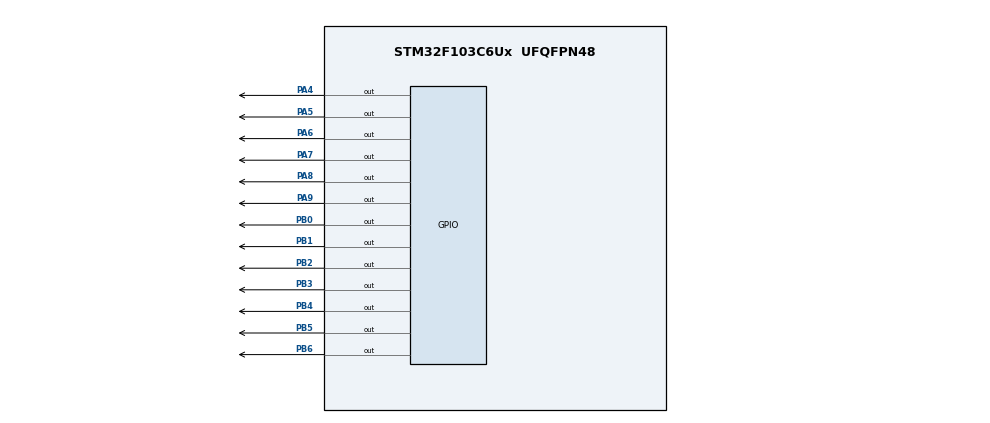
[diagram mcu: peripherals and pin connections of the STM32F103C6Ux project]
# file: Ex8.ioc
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Mcu.Family=STM32F1
Mcu.Name=STM32F103C6Ux
Mcu.Package=UFQFPN48
NVIC.PriorityGroup=NVIC_PRIORITYGROUP_4
NVIC.TIM2_IRQn=true\:0\:0\:false\:false\:true\:true\:true\:true
PA13.Mode=Serial_Wire
PA13.Signal=SYS_JTMS-SWDIO
PA14.Mode=Serial_Wire
PA14.Signal=SYS_JTCK-SWCLK
PA4.Signal=GPIO_Output
PA5.Signal=GPIO_Output
PA6.PinState=GPIO_PIN_SET
PA6.Signal=GPIO_Output
PA7.PinState=GPIO_PIN_SET
PA7.Signal=GPIO_Output
PA8.PinState=GPIO_PIN_SET
PA8.Signal=GPIO_Output
PA9.PinState=GPIO_PIN_SET
PA9.Signal=GPIO_Output
PB0.Signal=GPIO_Output
PB1.Signal=GPIO_Output
PB2.Signal=GPIO_Output
PB3.Signal=GPIO_Output
PB4.Signal=GPIO_Output
PB5.Signal=GPIO_Output
PB6.Signal=GPIO_Output
ProjectManager.HeapSize=0x200
ProjectManager.StackSize=0x400
ProjectManager.TargetToolchain=STM32CubeIDE
RCC.APB1Freq_Value=8000000
RCC.APB2Freq_Value=8000000
TIM2.Period=9
TIM2.Prescaler=7999
VP_TIM2_VS_ClockSourceINT.Mode=Internal
board=custom

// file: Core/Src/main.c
/* USER CODE BEGIN Header */
/**
 ******************************************************************************
 * @file           : main.c
 * @brief          : Main program body
 ******************************************************************************
 */
/* USER CODE END Header */
#include "main.h"

TIM_HandleTypeDef htim2;

void SystemClock_Config(void);
static void MX_GPIO_Init(void);
static void MX_TIM2_Init(void);
/* USER CODE BEGIN PFP */
void setTimer0(int duration);
void timer_run(void);
void updateClockBuffer(void);
void display7SEG(int num);
void update7SEG(int index);
/* USER CODE END PFP */

/* Private user code --------------------------------------------------------- */
/* USER CODE BEGIN 0 */

/* ---------- Software timer ---------- */
#define TIMER_CYCLE 10 // chu kỳ ngắt TIM2 = 10ms
#define SCAN_PERIOD 10 // ms mỗi LED 7 đoạn (quét multiplex khoảng 25Hz)

volatile int timer0_counter = 0;
volatile int timer0_flag = 0;
volatile int timer1_counter = 0;
volatile int timer1_flag = 0;

void setTimer0(int duration)
{
  timer0_counter = duration / TIMER_CYCLE;
  timer0_flag = 0;
}

void setTimer1(int duration)
{
  timer1_counter = duration / TIMER_CYCLE;
  timer1_flag = 0;
}

void timer_run(void)
{
  if (timer0_counter > 0)
  {
    timer0_counter--;
    if (timer0_counter == 0)
      timer0_flag = 1;
  }
  if (timer1_counter > 0)
  {
    timer1_counter--;
    if (timer1_counter == 0)
      timer1_flag = 1;
  }
}

/* ---------- LED 7 đoạn ---------- */
// Common anode: bit = 0 -> sáng. Bit0 = a ... bit6 = g
const uint8_t SEG_CODE[10] = {
    0x40, 0x79, 0x24, 0x30, 0x19, // 0 1 2 3 4
    0x12, 0x02, 0x78, 0x00, 0x10  // 5 6 7 8 9
};

void display7SEG(int num)
{
  GPIOB->ODR = (GPIOB->ODR & ~0x007F) | SEG_CODE[num];
}

const int MAX_LED = 4;
int index_led = 0;
int led_buffer[4] = {1, 2, 3, 4};

#define EN_ON GPIO_PIN_RESET // common-anode: mức 0 = bật
#define EN_OFF GPIO_PIN_SET  // common-anode: mức 1 = tắt

void update7SEG(int index)
{
  // Tắt cả 4 LED trước khi đổi dữ liệu để tránh bóng mờ
  HAL_GPIO_WritePin(GPIOA, GPIO_PIN_6 | GPIO_PIN_7 | GPIO_PIN_8 | GPIO_PIN_9, EN_OFF);
  switch (index)
  {
  case 0:
    display7SEG(led_buffer[0]);
    HAL_GPIO_WritePin(GPIOA, GPIO_PIN_6, EN_ON);
    break;
  case 1:
    display7SEG(led_buffer[1]);
    HAL_GPIO_WritePin(GPIOA, GPIO_PIN_7, EN_ON);
    break;
  case 2:
    display7SEG(led_buffer[2]);
    HAL_GPIO_WritePin(GPIOA, GPIO_PIN_8, EN_ON);
    break;
  case 3:
    display7SEG(led_buffer[3]);
    HAL_GPIO_WritePin(GPIOA, GPIO_PIN_9, EN_ON);
    break;
  default:
    break;
  }
}

/* ---------- Đồng hồ ---------- */
int hour = 15, minute = 8, second = 50;

void updateClockBuffer(void)
{
  led_buffer[0] = hour / 10;
  led_buffer[1] = hour % 10;
  led_buffer[2] = minute / 10;
  led_buffer[3] = minute % 10;
}

/* USER CODE END 0 */

int main(void)
{

  /* MCU Configuration--------------------------------------------------------*/

  /* Reset of all peripherals, Initializes the Flash interface and the Systick. */
  HAL_Init();

  /* Configure the system clock */
  SystemClock_Config();

  /* Initialize all configured peripherals */
  MX_GPIO_Init();
  MX_TIM2_Init();
  /* USER CODE BEGIN 2 */
  HAL_GPIO_WritePin(GPIOA, GPIO_PIN_6 | GPIO_PIN_7 | GPIO_PIN_8 | GPIO_PIN_9, EN_OFF);
  HAL_TIM_Base_Start_IT(&htim2);
  updateClockBuffer();
  setTimer0(1000);
  setTimer1(SCAN_PERIOD);
  /* USER CODE END 2 */

  /* Infinite loop */
  /* USER CODE BEGIN WHILE */
  while (1)
  {
    // Quét LED 7 đoạn
    if (timer1_flag == 1)
    {
      setTimer1(SCAN_PERIOD);
      update7SEG(index_led++);
      if (index_led >= MAX_LED)
        index_led = 0;
    }

    // Đồng hồ + DOT mỗi giây
    if (timer0_flag == 1)
    {
      setTimer0(1000);
      HAL_GPIO_TogglePin(GPIOA, GPIO_PIN_4);

      second++;
      if (second >= 60)
      {
        second = 0;
        minute++;
      }
      if (minute >= 60)
      {
        minute = 0;
        hour++;
      }
      if (hour >= 24)
      {
        hour = 0;
      }
      updateClockBuffer();
    }
    /* USER CODE END WHILE */

  }
}

void SystemClock_Config(void)
{
  RCC_OscInitTypeDef RCC_OscInitStruct = {0};
  RCC_ClkInitTypeDef RCC_ClkInitStruct = {0};

  /** Initializes the RCC Oscillators according to the specified parameters
   * in the RCC_OscInitTypeDef structure.
   */
  RCC_OscInitStruct.OscillatorType = RCC_OSCILLATORTYPE_HSI;
  RCC_OscInitStruct.HSIState = RCC_HSI_ON;
  RCC_OscInitStruct.HSICalibrationValue = RCC_HSICALIBRATION_DEFAULT;
  RCC_OscInitStruct.PLL.PLLState = RCC_PLL_NONE;
  if (HAL_RCC_OscConfig(&RCC_OscInitStruct) != HAL_OK)
  {
    Error_Handler();
  }

  /** Initializes the CPU, AHB and APB buses clocks
   */
  RCC_ClkInitStruct.ClockType = RCC_CLOCKTYPE_HCLK | RCC_CLOCKTYPE_SYSCLK | RCC_CLOCKTYPE_PCLK1 | RCC_CLOCKTYPE_PCLK2;
  RCC_ClkInitStruct.SYSCLKSource = RCC_SYSCLKSOURCE_HSI;
  RCC_ClkInitStruct.AHBCLKDivider = RCC_SYSCLK_DIV1;
  RCC_ClkInitStruct.APB1CLKDivider = RCC_HCLK_DIV1;
  RCC_ClkInitStruct.APB2CLKDivider = RCC_HCLK_DIV1;

  if (HAL_RCC_ClockConfig(&RCC_ClkInitStruct, FLASH_LATENCY_0) != HAL_OK)
  {
    Error_Handler();
  }
}

static void MX_TIM2_Init(void)
{

  TIM_ClockConfigTypeDef sClockSourceConfig = {0};
  TIM_MasterConfigTypeDef sMasterConfig = {0};

  htim2.Instance = TIM2;
  htim2.Init.Prescaler = 7999;
  htim2.Init.CounterMode = TIM_COUNTERMODE_UP;
  htim2.Init.Period = 9;
  htim2.Init.ClockDivision = TIM_CLOCKDIVISION_DIV1;
  htim2.Init.AutoReloadPreload = TIM_AUTORELOAD_PRELOAD_DISABLE;
  if (HAL_TIM_Base_Init(&htim2) != HAL_OK)
  {
    Error_Handler();
  }
  sClockSourceConfig.ClockSource = TIM_CLOCKSOURCE_INTERNAL;
  if (HAL_TIM_ConfigClockSource(&htim2, &sClockSourceConfig) != HAL_OK)
  {
    Error_Handler();
  }
  sMasterConfig.MasterOutputTrigger = TIM_TRGO_RESET;
  sMasterConfig.MasterSlaveMode = TIM_MASTERSLAVEMODE_DISABLE;
  if (HAL_TIMEx_MasterConfigSynchronization(&htim2, &sMasterConfig) != HAL_OK)
  {
    Error_Handler();
  }
}

static void MX_GPIO_Init(void)
{
  GPIO_InitTypeDef GPIO_InitStruct = {0};

  /* GPIO Ports Clock Enable */
  __HAL_RCC_GPIOA_CLK_ENABLE();
  __HAL_RCC_GPIOB_CLK_ENABLE();

  /*Configure GPIO pin Output Level */
  HAL_GPIO_WritePin(GPIOA, GPIO_PIN_4 | GPIO_PIN_5, GPIO_PIN_RESET);

  /*Configure GPIO pin Output Level */
  HAL_GPIO_WritePin(GPIOA, GPIO_PIN_6 | GPIO_PIN_7 | GPIO_PIN_8 | GPIO_PIN_9, GPIO_PIN_SET);

  /*Configure GPIO pin Output Level */
  HAL_GPIO_WritePin(GPIOB, GPIO_PIN_0 | GPIO_PIN_1 | GPIO_PIN_2 | GPIO_PIN_3 | GPIO_PIN_4 | GPIO_PIN_5 | GPIO_PIN_6, GPIO_PIN_RESET);

  /*Configure GPIO pins : PA4 PA5 PA6 PA7
                           PA8 PA9 */
  GPIO_InitStruct.Pin = GPIO_PIN_4 | GPIO_PIN_5 | GPIO_PIN_6 | GPIO_PIN_7 | GPIO_PIN_8 | GPIO_PIN_9;
  GPIO_InitStruct.Mode = GPIO_MODE_OUTPUT_PP;
  GPIO_InitStruct.Pull = GPIO_NOPULL;
  GPIO_InitStruct.Speed = GPIO_SPEED_FREQ_LOW;
  HAL_GPIO_Init(GPIOA, &GPIO_InitStruct);

  /*Configure GPIO pins : PB0 PB1 PB2 PB3
                           PB4 PB5 PB6 */
  GPIO_InitStruct.Pin = GPIO_PIN_0 | GPIO_PIN_1 | GPIO_PIN_2 | GPIO_PIN_3 | GPIO_PIN_4 | GPIO_PIN_5 | GPIO_PIN_6;
  GPIO_InitStruct.Mode = GPIO_MODE_OUTPUT_PP;
  GPIO_InitStruct.Pull = GPIO_NOPULL;
  GPIO_InitStruct.Speed = GPIO_SPEED_FREQ_LOW;
  HAL_GPIO_Init(GPIOB, &GPIO_InitStruct);

}

/* USER CODE BEGIN 4 */
void HAL_TIM_PeriodElapsedCallback(TIM_HandleTypeDef *htim)
{
  if (htim->Instance == TIM2)
  {
    timer_run();
  }
}
/* USER CODE END 4 */

void Error_Handler(void)
{
  __disable_irq();
  while (1)
  {
  }
}
